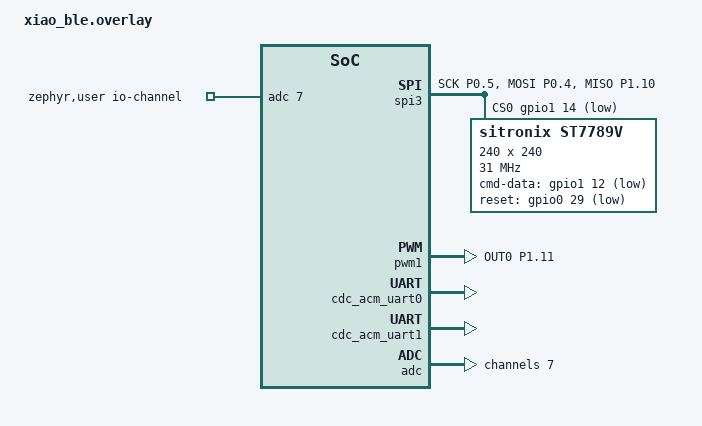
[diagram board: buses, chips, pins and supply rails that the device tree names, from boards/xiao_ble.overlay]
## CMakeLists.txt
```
# SPDX-License-Identifier: MIT
cmake_minimum_required(VERSION 3.20.0)

find_package(Zephyr REQUIRED HINTS $ENV{ZEPHYR_BASE})
project(nrf_elron)

target_sources(app PRIVATE
  src/main.c
  src/schedule.c
  src/ble_svc.c
  src/ui.c
  src/battery.c
  src/buttons.c
  src/game.c
)

target_include_directories(app PRIVATE src)
```

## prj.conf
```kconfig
# ── Elron train display (xiao_ble / nRF52840) ──────────────────────────────

CONFIG_GPIO=y
CONFIG_REBOOT=y
CONFIG_ADC=y

# ── Self-recovery: hardware watchdog reboots the SoC if the main loop ever
# wedges (deadlock/livelock/lockup). Faults are handled by the reboot-on-fatal
# override in main.c. Together these stop a "frozen, unresettable" board. ──────
CONFIG_WATCHDOG=y

# ── Display: ST7789V over SPI3 (backlight is PWM-dimmed for battery) ────────
CONFIG_SPI=y
CONFIG_DISPLAY=y
CONFIG_ST7789V=y
CONFIG_PWM=y

# ── LVGL (Zephyr 3.6 / LVGL 8) ─────────────────────────────────────────────
CONFIG_LVGL=y
CONFIG_LV_COLOR_DEPTH_16=y
CONFIG_LV_COLOR_16_SWAP=y
CONFIG_LV_Z_BITS_PER_PIXEL=16
CONFIG_LV_Z_VDB_SIZE=14
CONFIG_LV_Z_DOUBLE_VDB=y
CONFIG_LV_Z_FLUSH_THREAD=y
CONFIG_LV_Z_MEM_POOL_SIZE=32768
CONFIG_LV_USE_LABEL=y
CONFIG_LV_FONT_MONTSERRAT_16=y
CONFIG_LV_FONT_MONTSERRAT_20=y
CONFIG_LV_FONT_MONTSERRAT_24=y
CONFIG_LV_FONT_MONTSERRAT_48=y

# ── Bluetooth: peripheral, single connection, roomy MTU for one-shot push ──
CONFIG_BT=y
CONFIG_BT_PERIPHERAL=y
CONFIG_BT_DEVICE_NAME="Elron Display"
CONFIG_BT_MAX_CONN=1
CONFIG_BT_L2CAP_TX_MTU=247
CONFIG_BT_BUF_ACL_TX_SIZE=251
CONFIG_BT_BUF_ACL_RX_SIZE=251
CONFIG_BT_ATT_PREPARE_COUNT=16
CONFIG_BT_GATT_CLIENT=n

# ── Persistence: settings on NVS (survives power-cycle → offline mode) ──────
CONFIG_FLASH=y
CONFIG_FLASH_MAP=y
CONFIG_NVS=y
CONFIG_SETTINGS=y
CONFIG_SETTINGS_NVS=y

# ── USB CDC-ACM console (logs over the USB cable) ──────────────────────────
CONFIG_SERIAL=y
CONFIG_CONSOLE=y
CONFIG_UART_CONSOLE=y
CONFIG_UART_LINE_CTRL=y
CONFIG_UART_INTERRUPT_DRIVEN=y
CONFIG_USB_DEVICE_STACK=y
CONFIG_USB_DEVICE_PRODUCT="Elron Display"
CONFIG_USB_DEVICE_INITIALIZE_AT_BOOT=n
# Reboot-to-bootloader on 1200-baud touch (hands-free flashing)
CONFIG_CDC_ACM_DTE_RATE_CALLBACK_SUPPORT=y

# ── Logging ────────────────────────────────────────────────────────────────
CONFIG_LOG=y

# ── Memory / stacks ────────────────────────────────────────────────────────
CONFIG_MAIN_STACK_SIZE=4096
CONFIG_HEAP_MEM_POOL_SIZE=8192
CONFIG_SYSTEM_WORKQUEUE_STACK_SIZE=3072
```

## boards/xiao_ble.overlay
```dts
/*
 * Elron train display — Seeed XIAO nRF52840 + ST7789V 240x240 over SPI3.
 * Wiring mirrors the user's prospector_adapter overlay (direct-SPI st7789v binding,
 * which is valid on Zephyr 3.6 / NCS v2.7.0).
 *
 *   SPI3 SCK  P0.05    MOSI P0.04    MISO P1.10
 *   CS  xiao_d 9   DC  xiao_d 7   RESET xiao_d 3   (all active-low)
 *   Backlight PWM_OUT0 P1.11
 */

#include <zephyr/dt-bindings/gpio/gpio.h>
#include <zephyr/dt-bindings/adc/adc.h>
#include <zephyr/dt-bindings/adc/nrf-adc.h>

/ {
	chosen {
		zephyr,display = &st7789v;
		zephyr,console = &cdc_acm_uart0;
	};

	/* Backlight is PWM-dimmed on P1.11 via pwm1 (see &pwm1 below and
	 * backlight_set() in main.c). */
};

&pinctrl {
	spi3_default: spi3_default {
		group1 {
			psels = <NRF_PSEL(SPIM_SCK, 0, 5)>,
				<NRF_PSEL(SPIM_MOSI, 0, 4)>,
				<NRF_PSEL(SPIM_MISO, 1, 10)>;
		};
	};

	spi3_sleep: spi3_sleep {
		group1 {
			psels = <NRF_PSEL(SPIM_SCK, 0, 5)>,
				<NRF_PSEL(SPIM_MOSI, 0, 4)>,
				<NRF_PSEL(SPIM_MISO, 1, 10)>;
			low-power-enable;
		};
	};

	/* Backlight dimming: PWM_OUT0 on P1.11 (was a plain GPIO). */
	bl_pwm_default: bl_pwm_default {
		group1 {
			psels = <NRF_PSEL(PWM_OUT0, 1, 11)>;
		};
	};

	bl_pwm_sleep: bl_pwm_sleep {
		group1 {
			psels = <NRF_PSEL(PWM_OUT0, 1, 11)>;
			low-power-enable;
		};
	};
};

&spi3 {
	status = "okay";
	pinctrl-0 = <&spi3_default>;
	pinctrl-1 = <&spi3_sleep>;
	pinctrl-names = "default", "sleep";
	cs-gpios = <&gpio1 14 GPIO_ACTIVE_LOW>;   /* xiao_d 9  = P1.14 */

	st7789v: st7789v@0 {
		compatible = "sitronix,st7789v";
		reg = <0>;
		spi-max-frequency = <31000000>;
		cmd-data-gpios = <&gpio1 12 GPIO_ACTIVE_LOW>; /* xiao_d 7 = P1.12 */
		reset-gpios = <&gpio0 29 GPIO_ACTIVE_LOW>;    /* xiao_d 3 = P0.29 */

		width = <240>;
		height = <240>;
		x-offset = <0>;
		y-offset = <0>;

		vcom = <0x19>;
		gctrl = <0x35>;
		vrhs = <0x12>;
		vdvs = <0x20>;
		mdac = <0x00>;   /* native orientation; rotation done in LVGL (sw) */
		gamma = <0x01>;
		colmod = <0x05>;
		lcm = <0x2c>;
		porch-param = [0c 0c 00 33 33];
		cmd2en-param = [5a 69 02 01];
		pwctrl1-param = [a4 a1];
		pvgam-param = [D0 04 0D 11 13 2B 3F 54 4C 18 0D 0B 1F 23];
		nvgam-param = [D0 04 0C 11 13 2C 3F 44 51 2F 1F 1F 20 23];
		ram-param = [00 F0];
		rgb-param = [CD 08 14];
	};
};

/* Backlight is PWM-dimmed for battery life. pwm0 is taken by the board's user
 * LED, so drive P1.11 from pwm1 channel 0 (see backlight_set() in main.c). */
&pwm1 {
	status = "okay";
	pinctrl-0 = <&bl_pwm_default>;
	pinctrl-1 = <&bl_pwm_sleep>;
	pinctrl-names = "default", "sleep";
};

&zephyr_udc0 {
	/* uart0 = log console (chosen zephyr,console). */
	cdc_acm_uart0: cdc_acm_uart0 {
		compatible = "zephyr,cdc-acm-uart";
	};
	/* uart1 = dedicated data channel for the host->board schedule push.
	 * Separate port so the IRQ reader doesn't clobber the console's handler. */
	cdc_acm_uart1: cdc_acm_uart1 {
		compatible = "zephyr,cdc-acm-uart";
	};
};

/* The xiao_ble board DTS adds its own CDC ACM (shell/mcumgr/bt-mon, all unused
 * here). Leaving it on enumerates a stray third COM port and shifts our data
 * port's interface number. Disable it so the board exposes exactly two ports:
 * MI_00 = cdc_acm_uart0 (console), MI_02 = cdc_acm_uart1 (data). */
&usb_cdc_acm_uart {
	status = "disabled";
};

/*
 * Free the display pins that the xiao_ble board enables by default:
 *   i2c1  -> P0.04 (SPI MOSI) + P0.05 (SPI SCK)
 *   spi2  -> P1.14 (display CS = xiao_d 9)
 *   uart0 -> P1.11 (backlight) + P1.12 (display DC = xiao_d 7)
 * (ZMK's board doesn't enable these, so the prospector overlay never had to.)
 */
&i2c1 {
	status = "disabled";
};

&spi2 {
	status = "disabled";
};

&uart0 {
	status = "disabled";
};

/* Battery sense: VBAT divided onto AIN7 (P0.31), enabled by pulling P0.14 low. */
/ {
	zephyr,user {
		io-channels = <&adc 7>;
	};
};

&adc {
	status = "okay";
	#address-cells = <1>;
	#size-cells = <0>;

	channel@7 {
		reg = <7>;
		zephyr,gain = "ADC_GAIN_1_6";
		zephyr,reference = "ADC_REF_INTERNAL";
		zephyr,acquisition-time = <ADC_ACQ_TIME_DEFAULT>;
		zephyr,input-positive = <NRF_SAADC_AIN7>;
		zephyr,resolution = <12>;
	};
};
```

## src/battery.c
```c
#include "battery.h"

#include <zephyr/kernel.h>
#include <zephyr/device.h>
#include <zephyr/drivers/adc.h>
#include <zephyr/drivers/gpio.h>
#include <zephyr/logging/log.h>
#include <hal/nrf_power.h>
#include <lvgl.h>

LOG_MODULE_REGISTER(battery, LOG_LEVEL_INF);

/* XIAO nRF52840 P0.13 sets the BQ25101 charge current:
 *   low = 100 mA, input/high-Z = 50 mA, high = 0 mA (off).
 * We use 100 mA for the 750 mAh cell. */
#define CHARGE_CURRENT_MA 100
#define CHG_CTRL_PIN      13

/* Stop charging at ~90% (4.11 V) and don't resume until ~50% (3.75 V): a wide
 * band that spares the LiPo and barely cycles on continuous USB. Thresholds are
 * the standard LiPo voltage->SoC curve (4110=90%, 3750=50%). */
#define CHG_STOP_MV       4110
#define CHG_RESUME_MV     3750

/* Nearly-empty cutoff while on battery. Below this the caller keeps the screen
 * (the backlight is ~90% of the power budget) off, so the last few percent keep
 * the clock and BLE alive instead of running the cell into brown-out — which
 * also deep-discharged the LiPo every time it happened. The ADC reading is
 * noisy (+-50 mV), so require a few consecutive low samples (one every ~30 s);
 * the very first sample after a boot counts on its own, so a brown-out reboot
 * can't relight the backlight and loop. */
#define LOW_BATT_MV       3400
#define LOW_BATT_SAMPLES  3

/* XIAO nRF52840 divider is R1=1M / R2=510k, so real Vbat = ADC mV * (1000+510)/510
 * = *2.961. This is the documented value — no per-board calibration needed (the
 * ~2-3% resistor tolerance is negligible for a rough icon + wide-band cap). */
#define VBAT_MUL_X1000    2961

static const struct adc_dt_spec adc = ADC_DT_SPEC_GET(DT_PATH(zephyr_user));
static const struct device *const gpio0 = DEVICE_DT_GET(DT_NODELABEL(gpio0));
#define VBAT_ENABLE_PIN 14   /* P0.14: low = connect divider */

static bool ready;
static bool charging_on = true;
static int64_t last_read;
static int cached_mv = -1;

static void chg_set(bool on)
{
	if (!device_is_ready(gpio0)) {
		return;
	}
	if (!on) {
		gpio_pin_configure(gpio0, CHG_CTRL_PIN, GPIO_OUTPUT_HIGH);   /* 0 mA */
	} else if (CHARGE_CURRENT_MA >= 100) {
		gpio_pin_configure(gpio0, CHG_CTRL_PIN, GPIO_OUTPUT_LOW);    /* 100 mA */
	} else {
		gpio_pin_configure(gpio0, CHG_CTRL_PIN, GPIO_INPUT);         /* 50 mA */
	}
	charging_on = on;
}

void battery_init(void)
{
	if (!adc_is_ready_dt(&adc) || adc_channel_setup_dt(&adc) != 0) {
		LOG_WRN("battery ADC not ready");
		return;
	}
	if (device_is_ready(gpio0)) {
		gpio_pin_configure(gpio0, VBAT_ENABLE_PIN, GPIO_OUTPUT_INACTIVE);
	}
	chg_set(true);
	ready = true;
}

static int read_vbat_mv(void)
{
	int16_t raw = 0;
	struct adc_sequence seq = { .buffer = &raw, .buffer_size = sizeof(raw) };

	gpio_pin_set(gpio0, VBAT_ENABLE_PIN, 0);   /* enable divider */
	k_msleep(2);
	adc_sequence_init_dt(&adc, &seq);
	int rc = adc_read_dt(&adc, &seq);
	gpio_pin_set(gpio0, VBAT_ENABLE_PIN, 1);   /* disable to save power */
	if (rc) {
		return -1;
	}
	int32_t mv = raw;
	if (adc_raw_to_millivolts_dt(&adc, &mv) != 0) {
		return -1;
	}
	return (int)((int64_t)mv * VBAT_MUL_X1000 / 1000);
}

bool battery_usb_present(void)
{
	return nrf_power_usbregstatus_vbusdet_get(NRF_POWER);
}

static bool low_latched;
static uint8_t low_cnt;
static bool low_first_sample = true;

/* Feed one fresh ADC sample into the low-battery latch. */
static void low_eval(int mv)
{
	bool first = low_first_sample;

	low_first_sample = false;
	if (mv < 0 || mv >= LOW_BATT_MV || battery_usb_present()) {
		low_cnt = 0;
		return;
	}
	if (first) {
		/* Booted straight into a low reading: confirm it with one immediate
		 * re-read rather than waiting ~60 s with the backlight on, but don't
		 * latch on a single (possibly glitched) first conversion either. */
		int again = read_vbat_mv();

		if (again < 0 || again >= LOW_BATT_MV) {
			low_cnt = 1;
			return;
		}
	} else if (++low_cnt < LOW_BATT_SAMPLES) {
		return;
	}
	if (!low_latched) {
		LOG_WRN("battery low (%d mV) -> screen stays off until USB", mv);
	}
	low_latched = true;
}

static int vbat_cached(void)
{
	int64_t now = k_uptime_get();
	if (cached_mv < 0 || now - last_read > 30000) {
		cached_mv = read_vbat_mv();
		last_read = now;
		LOG_INF("vbat ~%d mV (chg=%d)", cached_mv, charging_on);
		low_eval(cached_mv);
	}
	return cached_mv;
}

bool battery_low(void)
{
	if (!ready) {
		return false;
	}
	if (battery_usb_present()) {
		low_latched = false;
		low_cnt = 0;
		return false;
	}
	(void)vbat_cached();   /* takes (and evaluates) a fresh sample every ~30 s */
	return low_latched;
}

void battery_charge_manage(void)
{
	static bool usb_prev;
	bool usb = battery_usb_present();

	/* USB just came back after a spell on battery: top up straight away. The
	 * wide 4.11 -> 3.75 V hold band below is right for a board that sits on USB
	 * (it barely cycles the cell), but on its own it meant a night on battery
	 * was never recharged the next day — the charge stayed paused until the cell
	 * had sagged to ~50%, so the board routinely went into a weekend half empty. */
	if (ready && usb && !usb_prev && !charging_on) {
		LOG_INF("USB power back -> top up");
		chg_set(true);
	}
	usb_prev = usb;

	if (!ready || !usb) {
		return;   /* can only charge on USB */
	}
	int mv = vbat_cached();
	if (mv < 0) {
		return;
	}
	if (charging_on && mv >= CHG_STOP_MV) {
		LOG_INF("charge cap reached (%d mV) -> pause", mv);
		chg_set(false);
	} else if (!charging_on && mv <= CHG_RESUME_MV) {
		LOG_INF("battery sagged (%d mV) -> resume charge", mv);
		chg_set(true);
	}
}

const char *battery_symbol(void)
{
	if (!ready) {
		return "";
	}
	/* Plugged in -> always show the charge bolt. We still pause the actual charge
	 * current at the cap for LiPo longevity (charging_on toggles), but to the user
	 * "on USB" should read as charging — otherwise a topped-off battery sitting in
	 * the 4.11->3.75 V hold band looks like charging silently stopped. */
	if (battery_usb_present()) {
		return LV_SYMBOL_CHARGE;
	}
	int mv = vbat_cached();
	if (mv < 0) {
		return "";
	}
	if (mv >= 4100) {
		return LV_SYMBOL_BATTERY_FULL;
	} else if (mv >= 3900) {
		return LV_SYMBOL_BATTERY_3;
	} else if (mv >= 3750) {
		return LV_SYMBOL_BATTERY_2;
	} else if (mv >= 3600) {
		return LV_SYMBOL_BATTERY_1;
	}
	return LV_SYMBOL_BATTERY_EMPTY;
}
```

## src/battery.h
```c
/* Rough LiPo battery indicator for the XIAO nRF52840.
 * VBAT is divided onto AIN7 (P0.31); P0.14 low enables the divider. */
#ifndef ELRON_BATTERY_H_
#define ELRON_BATTERY_H_

#include <stdbool.h>

void battery_init(void);

/* Manage the charge cap: stop charging near ~90%, resume if it sags, and top
 * up again whenever USB power returns after a spell on battery.
 * Call periodically (e.g. once a second) — on battery too, so it can see USB
 * come and go. */
void battery_charge_manage(void);

/* True while USB (VBUS) power is present. */
bool battery_usb_present(void);

/* True once the cell is nearly empty while running on battery. Latches until
 * USB power returns. Samples the ADC at most every ~30 s, so it is cheap to
 * call every second. */
bool battery_low(void);

/* An LVGL battery/charge symbol reflecting a rough level (cached ~30s).
 * Returns "" if the ADC isn't ready. */
const char *battery_symbol(void);

#endif /* ELRON_BATTERY_H_ */
```

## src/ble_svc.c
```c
#include "ble_svc.h"
#include "schedule.h"

#include <zephyr/kernel.h>
#include <zephyr/bluetooth/bluetooth.h>
#include <zephyr/bluetooth/conn.h>
#include <zephyr/bluetooth/hci.h>
#include <zephyr/bluetooth/gatt.h>
#include <zephyr/bluetooth/uuid.h>
#include <zephyr/sys/reboot.h>
#include <zephyr/logging/log.h>
#include <hal/nrf_power.h>
#include <string.h>

LOG_MODULE_REGISTER(ble_svc, LOG_LEVEL_INF);

/* 6e656c45-726f-6e21-0000-0000000000xx  ("elEron!" themed) */
#define ELRON_UUID_SVC \
	BT_UUID_128_ENCODE(0x6e656c45, 0x726f, 0x6e21, 0x0000, 0x000000000001)
#define ELRON_UUID_SCHED \
	BT_UUID_128_ENCODE(0x6e656c45, 0x726f, 0x6e21, 0x0000, 0x000000000002)
#define ELRON_UUID_CTRL \
	BT_UUID_128_ENCODE(0x6e656c45, 0x726f, 0x6e21, 0x0000, 0x000000000003)

static struct bt_uuid_128 svc_uuid   = BT_UUID_INIT_128(ELRON_UUID_SVC);
static struct bt_uuid_128 sched_uuid = BT_UUID_INIT_128(ELRON_UUID_SCHED);
static struct bt_uuid_128 ctrl_uuid  = BT_UUID_INIT_128(ELRON_UUID_CTRL);

/* Control char command bytes. */
#define ELRON_CMD_BOOTLOADER 0xB0   /* reboot into the UF2 bootloader */

static elron_ble_rx_cb user_cb;
static bool connected;
static bool adv_active;

/* Drop a connection that goes idle, so a phantom/half-open link (Windows leaves
 * these) can't stop us advertising. Rescheduled on every write. */
static struct bt_conn *cur_conn;
#define IDLE_DISCONNECT K_SECONDS(20)

static void idle_work_fn(struct k_work *w)
{
	ARG_UNUSED(w);
	if (cur_conn) {
		LOG_INF("idle connection -> disconnecting");
		bt_conn_disconnect(cur_conn, BT_HCI_ERR_REMOTE_USER_TERM_CONN);
	}
}
static K_WORK_DELAYABLE_DEFINE(idle_work, idle_work_fn);

/* Reassembly buffer for chunked schedule writes (a week of departures). */
static uint8_t  rx_buf[1100];
static uint16_t rx_len;

/* Total expected v3 payload length given the bytes seen so far, or 0 if the
 * header isn't complete enough yet. Skips the u8-length-prefixed origin/dest/msg
 * + destination table, then adds count*7. */
static uint16_t wire_total_len(const uint8_t *b, uint16_t have)
{
	uint16_t p = 9;                 /* ver(1)+epoch(4)+tz(2)+walk(2) */
	for (int i = 0; i < 3; i++) {   /* origin, dest, msg */
		if (have < p + 1) return 0;
		p += 1 + b[p];
	}
	if (have < p + 1) return 0;     /* ndest */
	uint8_t nd = b[p++];
	for (uint8_t i = 0; i < nd; i++) {
		if (have < p + 1) return 0;
		p += 1 + b[p];
	}
	if (have < p + 1) return 0;     /* count */
	return p + 1 + b[p] * 7;
}

/* Chunked protocol: the companion sends the wire payload as small frames, each
 * [seq:u8][<=CHUNK data], so every GATT write fits a single ATT PDU (no MTU
 * negotiation, no long/prepared writes — which Windows' stack rejected). The
 * firmware places each chunk at seq*CHUNK and fires once the payload is whole. */
#define ELRON_CHUNK 18

static ssize_t sched_write(struct bt_conn *conn, const struct bt_gatt_attr *attr,
			   const void *buf, uint16_t len, uint16_t offset, uint8_t flags)
{
	ARG_UNUSED(offset);
	ARG_UNUSED(flags);

	if (len < 1) {
		return len;
	}
	k_work_reschedule(&idle_work, IDLE_DISCONNECT);   /* activity: stay alive */
	const uint8_t *b = buf;
	uint16_t seq = b[0];
	uint16_t dlen = len - 1;
	uint16_t dest = seq * ELRON_CHUNK;

	if (dest + dlen > sizeof(rx_buf)) {
		return BT_GATT_ERR(BT_ATT_ERR_INVALID_OFFSET);
	}
	/* seq 0 begins a fresh transfer: clear the high-water mark so a re-push or a
	 * dropped/gapped chunk can't complete against stale bytes from a prior one. */
	if (seq == 0) {
		rx_len = 0;
	}
	memcpy(&rx_buf[dest], &b[1], dlen);
	if (dest + dlen > rx_len) {
		rx_len = dest + dlen;
	}

	uint16_t total = wire_total_len(rx_buf, rx_len);
	if (user_cb && total != 0 && rx_len >= total) {
		LOG_INF("schedule complete: %u bytes", total);
		user_cb(rx_buf, total);
		rx_len = 0;
	}
	return len;
}

/* Reboot to the UF2 bootloader, deferred so the ATT write response goes out
 * first (otherwise the central reports the write as failed). */
static void reboot_work_fn(struct k_work *w)
{
	ARG_UNUSED(w);
	nrf_power_gpregret_set(NRF_POWER, 0, 0x57);   /* Adafruit/Seeed "enter UF2" */
	sys_reboot(SYS_REBOOT_COLD);
}
static K_WORK_DELAYABLE_DEFINE(reboot_work, reboot_work_fn);

static ssize_t ctrl_write(struct bt_conn *conn, const struct bt_gatt_attr *attr,
			  const void *buf, uint16_t len, uint16_t offset, uint8_t flags)
{
	ARG_UNUSED(conn); ARG_UNUSED(attr); ARG_UNUSED(offset); ARG_UNUSED(flags);
	const uint8_t *b = buf;
	if (len >= 1 && b[0] == ELRON_CMD_BOOTLOADER) {
		LOG_INF("ctrl: reboot to bootloader requested");
		k_work_schedule(&reboot_work, K_MSEC(250));
	}
	return len;
}

/* GATT service: schedule (write) + control (write) characteristics. */
BT_GATT_SERVICE_DEFINE(elron_svc,
	BT_GATT_PRIMARY_SERVICE(&svc_uuid),
	BT_GATT_CHARACTERISTIC(&sched_uuid.uuid,
		BT_GATT_CHRC_WRITE,
		BT_GATT_PERM_WRITE,
		NULL, sched_write, NULL),
	BT_GATT_CHARACTERISTIC(&ctrl_uuid.uuid,
		BT_GATT_CHRC_WRITE,
		BT_GATT_PERM_WRITE,
		NULL, ctrl_write, NULL),
);

/* Manufacturer data: [company 0xFFFF][has_schedule]. The companion reads the
 * flag while scanning so it knows to (re)send after a reflash wipes the device. */
static uint8_t mfg_data[3] = { 0xFF, 0xFF, 0x00 };

static const struct bt_data ad[] = {
	BT_DATA_BYTES(BT_DATA_FLAGS, (BT_LE_AD_GENERAL | BT_LE_AD_NO_BREDR)),
	BT_DATA(BT_DATA_NAME_COMPLETE, CONFIG_BT_DEVICE_NAME,
		sizeof(CONFIG_BT_DEVICE_NAME) - 1),
	BT_DATA(BT_DATA_MANUFACTURER_DATA, mfg_data, sizeof(mfg_data)),
};

static const struct bt_data sd[] = {
	BT_DATA_BYTES(BT_DATA_UUID128_ALL, ELRON_UUID_SVC),
};

void elron_ble_set_has_schedule(bool has)
{
	mfg_data[2] = has ? 1 : 0;
	if (adv_active && !connected) {
		(void)bt_le_adv_update_data(ad, ARRAY_SIZE(ad), sd, ARRAY_SIZE(sd));
	}
}

static void connected_cb(struct bt_conn *conn, uint8_t err)
{
	if (err) {
		LOG_WRN("connection failed (0x%02x)", err);
		return;
	}
	connected = true;
	rx_len = 0;
	cur_conn = bt_conn_ref(conn);
	k_work_reschedule(&idle_work, IDLE_DISCONNECT);
	LOG_INF("central connected");
}

/* Slow connectable advertising (~1 s vs the 100-150 ms default BT_LE_ADV_CONN).
 * The companion only needs to find the board occasionally, so this cuts the
 * radio's continuous idle-advertising current roughly 7x for negligible extra
 * discovery latency. */
#define ELRON_ADV_SLOW \
	BT_LE_ADV_PARAM(BT_LE_ADV_OPT_CONNECTABLE, \
			BT_GAP_ADV_SLOW_INT_MIN, BT_GAP_ADV_SLOW_INT_MAX, NULL)

static void start_adv(void)
{
	int err = bt_le_adv_start(ELRON_ADV_SLOW, ad, ARRAY_SIZE(ad),
				  sd, ARRAY_SIZE(sd));
	if (err) {
		LOG_ERR("adv start failed: %d", err);
		return;
	}
	adv_active = true;
	LOG_INF("advertising as \"%s\"", CONFIG_BT_DEVICE_NAME);
}

static void disconnected_cb(struct bt_conn *conn, uint8_t reason)
{
	connected = false;
	rx_len = 0;
	k_work_cancel_delayable(&idle_work);
	if (cur_conn) {
		bt_conn_unref(cur_conn);
		cur_conn = NULL;
	}
	LOG_INF("central disconnected (0x%02x)", reason);
	start_adv();   /* otherwise the device goes silent after one connection */
}

BT_CONN_CB_DEFINE(conn_callbacks) = {
	.connected = connected_cb,
	.disconnected = disconnected_cb,
};

static void bt_ready(int err)
{
	if (err) {
		LOG_ERR("bt enable failed: %d", err);
		return;
	}
	start_adv();
}

int elron_ble_init(elron_ble_rx_cb cb)
{
	user_cb = cb;
	return bt_enable(bt_ready);
}

bool elron_ble_connected(void)
{
	return connected;
}
```

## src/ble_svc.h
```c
/*
 * Custom GATT service for receiving an Elron schedule push from the companion.
 *
 * Service UUID:        6e656c45-726f-6e21-0000-000000000001
 * Schedule char (W):   6e656c45-726f-6e21-0000-000000000002  (write / write-long)
 *
 * The companion writes the wire payload described in schedule.h to the schedule
 * characteristic. A registered callback is invoked once the full value lands.
 */
#ifndef ELRON_BLE_SVC_H_
#define ELRON_BLE_SVC_H_

#include <stddef.h>
#include <stdint.h>
#include <stdbool.h>

/* Called (from the BT RX context) when a complete schedule payload is written. */
typedef void (*elron_ble_rx_cb)(const uint8_t *buf, size_t len);

/* Start advertising and register the schedule write callback. */
int elron_ble_init(elron_ble_rx_cb cb);

/* True while a central is connected. */
bool elron_ble_connected(void);

/* Advertise whether the device currently holds a schedule (so the companion
 * can detect a freshly-reflashed/empty device and resend). */
void elron_ble_set_has_schedule(bool has);

#endif /* ELRON_BLE_SVC_H_ */
```

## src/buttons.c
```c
#include "buttons.h"

#include <zephyr/kernel.h>
#include <zephyr/device.h>
#include <zephyr/drivers/gpio.h>
#include <zephyr/logging/log.h>

LOG_MODULE_REGISTER(buttons, LOG_LEVEL_INF);

/* nRF52840 GPIO ports. The three buttons all live on gpio0; the common is on
 * gpio1 (D8 = P1.13). */
static const struct device *const gpio0 = DEVICE_DT_GET(DT_NODELABEL(gpio0));
static const struct device *const gpio1 = DEVICE_DT_GET(DT_NODELABEL(gpio1));

#define COMMON_PIN 13   /* on gpio1: D8 = P1.13, driven low */

/* Button input pins on gpio0 (active-low: pressed -> shorted to driven-low common).
 * Ordered by PHYSICAL position left->right, which is D1, D2, D0 on this build —
 * so index 0/1/2 = the 1st/2nd/3rd button as mounted, not the D-number. */
static const gpio_pin_t btn_pin[ELRON_NUM_BUTTONS]  = { 3, 28, 2 };       /* D1, D2, D0 */
const char *const elron_button_name[ELRON_NUM_BUTTONS] = { "D1", "D2", "D0" };

#define DEBOUNCE_MS 25

static struct gpio_callback   gpio0_cb;
static struct k_work_delayable debounce_work;
static elron_button_cb        user_cb;
static uint32_t               stable_state;   /* bit i = button i pressed */

/* Sample all three inputs: physical low (== 0) means pressed. */
static uint32_t sample_raw(void)
{
	uint32_t m = 0;
	for (int i = 0; i < ELRON_NUM_BUTTONS; i++) {
		if (gpio_pin_get_raw(gpio0, btn_pin[i]) == 0) {
			m |= BIT(i);
		}
	}
	return m;
}

/* Runs DEBOUNCE_MS after the line last went quiet: latch the stable state and
 * report any buttons whose level changed. */
static void debounce_fn(struct k_work *w)
{
	ARG_UNUSED(w);
	uint32_t now = sample_raw();
	uint32_t changed = now ^ stable_state;

	stable_state = now;
	if (!changed || !user_cb) {
		return;
	}
	for (int i = 0; i < ELRON_NUM_BUTTONS; i++) {
		if (changed & BIT(i)) {
			user_cb((uint8_t)i, (now & BIT(i)) != 0);
		}
	}
}

/* GPIO edge interrupt: every edge (incl. bounce) just re-arms the sampler, so
 * we only latch once the input has been quiet for DEBOUNCE_MS. */
static void edge_isr(const struct device *dev, struct gpio_callback *cb, uint32_t pins)
{
	ARG_UNUSED(dev);
	ARG_UNUSED(cb);
	ARG_UNUSED(pins);
	k_work_reschedule(&debounce_work, K_MSEC(DEBOUNCE_MS));
}

int elron_buttons_init(elron_button_cb cb)
{
	user_cb = cb;

	if (!device_is_ready(gpio0) || !device_is_ready(gpio1)) {
		LOG_ERR("gpio not ready");
		return -ENODEV;
	}

	/* Shared common: drive D8 (P1.13) low so a press pulls its input low. */
	int rc = gpio_pin_configure(gpio1, COMMON_PIN, GPIO_OUTPUT_LOW);
	if (rc) {
		LOG_ERR("common (D8) cfg: %d", rc);
		return rc;
	}

	k_work_init_delayable(&debounce_work, debounce_fn);

	uint32_t mask = 0;
	for (int i = 0; i < ELRON_NUM_BUTTONS; i++) {
		rc = gpio_pin_configure(gpio0, btn_pin[i], GPIO_INPUT | GPIO_PULL_UP);
		if (rc) {
			LOG_ERR("btn%d (P0.%02d) cfg: %d", i, btn_pin[i], rc);
			return rc;
		}
		rc = gpio_pin_interrupt_configure(gpio0, btn_pin[i], GPIO_INT_EDGE_BOTH);
		if (rc) {
			LOG_ERR("btn%d (P0.%02d) int: %d", i, btn_pin[i], rc);
			return rc;
		}
		mask |= BIT(btn_pin[i]);
	}

	/* One callback object covers all three pins (all on gpio0). */
	gpio_init_callback(&gpio0_cb, edge_isr, mask);
	gpio_add_callback(gpio0, &gpio0_cb);

	/* Latch the initial level (in case a button is held at boot). */
	stable_state = sample_raw();
	LOG_INF("buttons ready: D0/D1/D2, common D8; state=0x%x", stable_state);
	return 0;
}

uint32_t elron_buttons_state(void)
{
	return stable_state;
}
```

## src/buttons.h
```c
/* Three front-panel push-buttons (Seeed XIAO nRF52840 header).
 *
 * Wiring: each button bridges one input pin to a shared common pin.
 *   button 0 -> D0 (P0.02)
 *   button 1 -> D1 (P0.03)
 *   button 2 -> D2 (P0.28)
 *   common   -> D8 (P1.13), driven low in firmware
 * (D9/P1.14 is the display CS, so the common can only be D8.)
 *
 * Inputs use internal pull-ups, so a press pulls the line low. Debounce is
 * interrupt-driven: edges (re)arm a delayed sampler, so the buttons cost zero
 * wakeups while idle — important for the overnight low-power loop.
 */
#ifndef ELRON_BUTTONS_H_
#define ELRON_BUTTONS_H_

#include <stdbool.h>
#include <stdint.h>

#define ELRON_NUM_BUTTONS 3

/* Human-readable pin label per button index, in physical left->right order. */
extern const char *const elron_button_name[ELRON_NUM_BUTTONS];

/* Fired from a workqueue context on each debounced edge.
 *   idx     = 0..ELRON_NUM_BUTTONS-1 (0 = D0, 1 = D1, 2 = D2)
 *   pressed = true on press, false on release
 */
typedef void (*elron_button_cb)(uint8_t idx, bool pressed);

/* Configure the common + the three inputs and start debounced reporting.
 * Returns 0 on success, negative errno otherwise. */
int elron_buttons_init(elron_button_cb cb);

/* Current debounced state bitmask: bit i set = button i is held. */
uint32_t elron_buttons_state(void);

#endif /* ELRON_BUTTONS_H_ */
```

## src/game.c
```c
#include "game.h"
#include "ui.h"

#include <lvgl.h>
#include <zephyr/kernel.h>
#include <zephyr/sys/atomic.h>
#include <zephyr/settings/settings.h>
#include <zephyr/logging/log.h>
#include <errno.h>

LOG_MODULE_REGISTER(game, LOG_LEVEL_INF);

/* ── Tunables (logical 240x240 space, same rotation as the rest of the UI).
 * Positions/velocities are 1/256-px fixed-point so motion is smooth without
 * floats. Tweak these on-device to taste. ─────────────────────────────────── */
#define FP            256
#define SCN_W         240
#define GROUND_Y      196          /* platform line (px) */
#define RUNNER_X      40
#define RUNNER_W      16
#define RUNNER_H      24
#define RUNNER_TOP    (GROUND_Y - RUNNER_H)

#define GRAVITY_FP    300          /* ~1.17 px/tick^2 */
#define JUMP_V_FP     (-2900)      /* ~-11.3 px/tick (single jump) */
#define SPEED0_FP     740          /* ~2.9 px/tick start */
#define SPEED_MAX_FP  1700         /* ~6.6 px/tick cap */
#define SPEED_RAMP_DIV 8           /* speed_fp = SPEED0 + dist_px/this */

#define N_OBST        4
#define OBST_W        16
#define OBST_MIN_H    14
#define OBST_MAX_H    34
#define OBST_MIN_GAP  150          /* px between obstacles (kept clearable) */
#define OBST_MAX_GAP  240

#define OVER_TIMEOUT_MS 20000      /* auto-exit from the game-over screen */
#define TITLE_TIMEOUT_MS 60000     /* auto-exit from an untouched title screen:
				    * game mode keeps the backlight lit, so a title
				    * screen left open would drain the battery flat */

#define COL_BG     lv_color_hex(0x000000)
#define COL_ELRON  lv_color_hex(0xfb4f14)
#define COL_TEXT   lv_color_hex(0xffffff)
#define COL_GROUND lv_color_hex(0x4a5560)
#define COL_OBST   lv_color_hex(0xb4bcc6)

enum gstate { G_TITLE, G_PLAYING, G_OVER };

struct obstacle {
	bool   active;
	int32_t x_fp;   /* left edge */
	int     h;
};

static lv_obj_t *scr;
static lv_obj_t *ground, *train, *runner, *score_lbl;
static lv_obj_t *title_lbl, *best_lbl, *hint_lbl, *over_lbl;
static lv_obj_t *obst_obj[N_OBST];
static struct obstacle obst[N_OBST];

static bool        active;
static enum gstate state;
static int32_t     runner_y_fp, vy_fp;
static bool        grounded;
static int32_t     dist_fp, speed_fp;
static uint32_t    score, hi;
static int         next_gap;
static int         train_phase;
static int64_t     over_ms;
static int64_t     title_ms;
static uint32_t    rng;

/* Enter/press requests arrive on the debounce workqueue thread, but LVGL is not
 * thread-safe — driving it there races the main loop's lv_task_handler() and was
 * dropping the game's full-screen invalidate, leaving stale schedule pixels
 * behind the game. So elron_game_enter()/_button() only record intent here, and
 * elron_game_tick() (main-loop thread) applies it next to its own LVGL calls. */
static atomic_t enter_req;
K_MSGQ_DEFINE(btn_msgq, sizeof(uint8_t), 8, 1);

/* ── High score persistence (own "game" settings subtree) ─────────────────── */
static int game_set_cb(const char *name, size_t len,
		       settings_read_cb read_cb, void *cb_arg)
{
	if (settings_name_steq(name, "hi", NULL)) {
		if (len == sizeof(hi)) {
			read_cb(cb_arg, &hi, sizeof(hi));
		}
		return 0;
	}
	return -ENOENT;
}
static struct settings_handler gsh = { .name = "game", .h_set = game_set_cb };

static void save_hi(void)
{
	int rc = settings_save_one("game/hi", &hi, sizeof(hi));
	if (rc) {
		LOG_WRN("save hi: %d", rc);
	}
}

/* ── Tiny PRNG (xorshift32), seeded per run from the cycle counter ─────────── */
static uint32_t prng(void)
{
	rng ^= rng << 13;
	rng ^= rng >> 17;
	rng ^= rng << 5;
	return rng;
}

/* ── State / overlays ─────────────────────────────────────────────────────── */
static void show(lv_obj_t *o, bool on)
{
	if (on) {
		lv_obj_clear_flag(o, LV_OBJ_FLAG_HIDDEN);
	} else {
		lv_obj_add_flag(o, LV_OBJ_FLAG_HIDDEN);
	}
}

static void set_state(enum gstate s)
{
	state = s;
	switch (s) {
	case G_TITLE:
		title_ms = k_uptime_get();
		/* Clean "ready" scene: just the runner standing on the platform.
		 * The train and obstacles stay hidden until the chase begins, so the
		 * title text never collides with stray gameplay scenery. */
		show(score_lbl, false);
		show(train, false);
		show(over_lbl, false);
		for (int i = 0; i < N_OBST; i++) {
			show(obst_obj[i], false);
		}
		lv_obj_set_pos(runner, RUNNER_X, RUNNER_TOP);
		show(runner, true);
		lv_label_set_text_fmt(best_lbl, "best  %u", hi);
		show(title_lbl, true);
		show(best_lbl, true);
		show(hint_lbl, true);
		break;
	case G_PLAYING:
		show(title_lbl, false);
		show(best_lbl, false);
		show(hint_lbl, false);
		show(over_lbl, false);
		lv_obj_set_y(train, 24);
		show(train, true);
		show(runner, true);
		show(score_lbl, true);
		break;
	case G_OVER:
		over_ms = k_uptime_get();
		lv_label_set_text_fmt(over_lbl,
			"MISSED IT!\n\nscore  %u\nbest   %u\n\nGO  again    BACK  exit",
			score, hi);
		show(over_lbl, true);
		lv_obj_move_foreground(over_lbl);
		break;
	}
}

/* ── Gameplay ─────────────────────────────────────────────────────────────── */
static void spawn(int x_px)
{
	for (int i = 0; i < N_OBST; i++) {
		if (!obst[i].active) {
			obst[i].active = true;
			obst[i].x_fp = x_px * FP;
			obst[i].h = OBST_MIN_H + (prng() % (OBST_MAX_H - OBST_MIN_H + 1));
			next_gap = OBST_MIN_GAP + (prng() % (OBST_MAX_GAP - OBST_MIN_GAP + 1));
			return;
		}
	}
}

static void start_game(void)
{
	rng = k_cycle_get_32() | 1u;
	dist_fp = 0;
	speed_fp = SPEED0_FP;
	score = 0;
	runner_y_fp = RUNNER_TOP * FP;
	vy_fp = 0;
	grounded = true;
	for (int i = 0; i < N_OBST; i++) {
		obst[i].active = false;
	}
	next_gap = OBST_MIN_GAP;
	spawn(SCN_W + 80);        /* a little breathing room before the first one */
	set_state(G_PLAYING);
}

static void render(void)
{
	lv_obj_set_pos(runner, RUNNER_X, runner_y_fp >> 8);

	for (int i = 0; i < N_OBST; i++) {
		if (obst[i].active) {
			lv_obj_set_size(obst_obj[i], OBST_W, obst[i].h);
			lv_obj_set_pos(obst_obj[i], obst[i].x_fp >> 8,
				       GROUND_Y - obst[i].h);
			show(obst_obj[i], true);
		} else {
			show(obst_obj[i], false);
		}
	}

	/* Train bobs gently as it pulls away. */
	lv_obj_set_y(train, 24 + (((train_phase >> 3) & 3) - 1));
	lv_label_set_text_fmt(score_lbl, "%u", score);
}

static void update(void)
{
	train_phase++;

	/* Runner physics. */
	vy_fp += GRAVITY_FP;
	runner_y_fp += vy_fp;
	if (runner_y_fp >= RUNNER_TOP * FP) {
		runner_y_fp = RUNNER_TOP * FP;
		vy_fp = 0;
		grounded = true;
	} else {
		grounded = false;
	}

	/* Distance, score, speed ramp. */
	dist_fp += speed_fp;
	int dist_px = dist_fp >> 8;
	score = dist_px / 4;
	speed_fp = SPEED0_FP + dist_px / SPEED_RAMP_DIV;
	if (speed_fp > SPEED_MAX_FP) {
		speed_fp = SPEED_MAX_FP;
	}

	/* Scroll obstacles, recycle off-screen ones, track the rightmost. */
	int rightmost = -10000;
	for (int i = 0; i < N_OBST; i++) {
		if (!obst[i].active) {
			continue;
		}
		obst[i].x_fp -= speed_fp;
		int x_px = obst[i].x_fp >> 8;
		if (x_px + OBST_W < 0) {
			obst[i].active = false;
			continue;
		}
		if (x_px > rightmost) {
			rightmost = x_px;
		}
	}
	if (rightmost < SCN_W - next_gap) {
		spawn(SCN_W);
	}

	/* Collision (slightly forgiving box). */
	int ry = runner_y_fp >> 8;
	for (int i = 0; i < N_OBST; i++) {
		if (!obst[i].active) {
			continue;
		}
		int ox = obst[i].x_fp >> 8;
		int otop = GROUND_Y - obst[i].h;
		if (RUNNER_X + 2 < ox + OBST_W && RUNNER_X + RUNNER_W - 2 > ox &&
		    ry + RUNNER_H - 2 > otop) {
			if (score > hi) {
				hi = score;
				save_hi();
			}
			set_state(G_OVER);
			return;
		}
	}
}

/* ── Public API ───────────────────────────────────────────────────────────── */
bool elron_game_active(void)
{
	return active;
}

void elron_game_enter(void)
{
	/* Workqueue context: flag the request, do NOT touch LVGL. The main loop
	 * sees active and applies the screen switch in elron_game_tick(). */
	/* Request first, then active: the tick must apply the enter (which restarts
	 * the title/game-over timers) before it ever checks them. */
	atomic_set(&enter_req, 1);
	active = true;
}

static void game_exit(void)
{
	active = false;
	k_msgq_purge(&btn_msgq);                 /* drop presses queued before exit */
	lv_scr_load(elron_ui_screen());
	lv_obj_invalidate(elron_ui_screen());    /* repaint every chunk (see tick) */
	elron_ui_refresh(false);
	LOG_INF("game: exit");
}

void elron_game_quit(void)
{
	/* Drop an enter that was requested but not applied yet, too, so the next
	 * tick can't bring the game straight back. */
	atomic_set(&enter_req, 0);
	if (active) {
		game_exit();
	}
}

/* Apply one queued button press. Runs on the main-loop thread (drained by
 * elron_game_tick), so it's safe to call LVGL from here. */
static void handle_button(uint8_t idx)
{
	if (idx == 1) {            /* #2 = BACK, always exits */
		game_exit();
		return;
	}
	/* idx == 0: #1 = GO */
	switch (state) {
	case G_TITLE:
		start_game();
		break;
	case G_PLAYING:
		if (grounded) {
			vy_fp = JUMP_V_FP;
			grounded = false;
		}
		break;
	case G_OVER:
		start_game();
		break;
	}
}

void elron_game_button(uint8_t idx, bool pressed)
{
	/* Workqueue context: just queue the press; the main loop applies it. */
	if (!active || !pressed) {
		return;
	}
	(void)k_msgq_put(&btn_msgq, &idx, K_NO_WAIT);
}

void elron_game_tick(void)
{
	if (!active) {
		return;
	}

	/* Apply a pending enter here so the screen switch + full-screen invalidate
	 * happen on this (main-loop) thread, just before lv_task_handler() runs —
	 * not racing it from the button workqueue. The partial render buffer
	 * (LV_Z_VDB_SIZE=14%) repaints in chunks, so a dropped invalidate would
	 * leave stale schedule pixels in chunks the game never redraws over. */
	if (atomic_cas(&enter_req, 1, 0)) {
		set_state(G_TITLE);
		lv_scr_load(scr);
		lv_obj_invalidate(scr);
		LOG_INF("game: enter");
	}

	/* Drain queued presses (also this thread, so LVGL stays single-threaded). */
	uint8_t idx;
	while (active && k_msgq_get(&btn_msgq, &idx, K_NO_WAIT) == 0) {
		handle_button(idx);
	}

	if (state == G_PLAYING) {
		update();
		if (state == G_PLAYING) {   /* update() may have ended the run */
			render();
		}
	} else if (state == G_OVER) {
		if (k_uptime_get() - over_ms > OVER_TIMEOUT_MS) {
			game_exit();
		}
	} else if (state == G_TITLE) {
		if (k_uptime_get() - title_ms > TITLE_TIMEOUT_MS) {
			game_exit();
		}
	}
}

void elron_game_init(void)
{
	settings_register(&gsh);
	settings_load_subtree("game");   /* subsys already init'd by schedule */

	scr = lv_obj_create(NULL);
	lv_obj_set_style_bg_color(scr, COL_BG, 0);
	lv_obj_set_style_bg_opa(scr, LV_OPA_COVER, 0);
	lv_obj_clear_flag(scr, LV_OBJ_FLAG_SCROLLABLE);

	/* Platform line. */
	ground = lv_obj_create(scr);
	lv_obj_remove_style_all(ground);
	lv_obj_set_size(ground, SCN_W, 3);
	lv_obj_set_pos(ground, 0, GROUND_Y);
	lv_obj_set_style_bg_color(ground, COL_GROUND, 0);
	lv_obj_set_style_bg_opa(ground, LV_OPA_COVER, 0);

	/* The train you're chasing (flavor). */
	train = lv_obj_create(scr);
	lv_obj_remove_style_all(train);
	lv_obj_set_size(train, 56, 22);
	lv_obj_set_pos(train, 176, 24);
	lv_obj_set_style_bg_color(train, COL_ELRON, 0);
	lv_obj_set_style_bg_opa(train, LV_OPA_COVER, 0);
	lv_obj_set_style_radius(train, 4, 0);

	/* Runner. */
	runner = lv_obj_create(scr);
	lv_obj_remove_style_all(runner);
	lv_obj_set_size(runner, RUNNER_W, RUNNER_H);
	lv_obj_set_style_bg_color(runner, COL_ELRON, 0);
	lv_obj_set_style_bg_opa(runner, LV_OPA_COVER, 0);
	lv_obj_set_style_radius(runner, 3, 0);

	/* Obstacle pool. */
	for (int i = 0; i < N_OBST; i++) {
		obst_obj[i] = lv_obj_create(scr);
		lv_obj_remove_style_all(obst_obj[i]);
		lv_obj_set_style_bg_color(obst_obj[i], COL_OBST, 0);
		lv_obj_set_style_bg_opa(obst_obj[i], LV_OPA_COVER, 0);
		lv_obj_set_style_radius(obst_obj[i], 2, 0);
		lv_obj_add_flag(obst_obj[i], LV_OBJ_FLAG_HIDDEN);
	}

	/* Score. */
	score_lbl = lv_label_create(scr);
	lv_obj_set_style_text_font(score_lbl, &lv_font_montserrat_20, 0);
	lv_obj_set_style_text_color(score_lbl, COL_TEXT, 0);
	lv_obj_align(score_lbl, LV_ALIGN_TOP_RIGHT, -8, 8);
	lv_label_set_text(score_lbl, "0");

	/* Title screen: bold orange title up top, a best-score line, and footer
	 * hints below the platform. Separate labels so each sits cleanly around the
	 * standing runner instead of one text block piled over the scenery. */
	title_lbl = lv_label_create(scr);
	lv_obj_set_style_text_font(title_lbl, &lv_font_montserrat_24, 0);
	lv_obj_set_style_text_color(title_lbl, COL_ELRON, 0);
	lv_obj_align(title_lbl, LV_ALIGN_TOP_MID, 0, 40);
	lv_label_set_text(title_lbl, "CATCH THE TRAIN");

	best_lbl = lv_label_create(scr);
	lv_obj_set_style_text_font(best_lbl, &lv_font_montserrat_20, 0);
	lv_obj_set_style_text_color(best_lbl, COL_TEXT, 0);
	lv_obj_align(best_lbl, LV_ALIGN_TOP_MID, 0, 80);
	lv_label_set_text(best_lbl, "best  0");

	hint_lbl = lv_label_create(scr);
	lv_obj_set_style_text_font(hint_lbl, &lv_font_montserrat_16, 0);
	lv_obj_set_style_text_color(hint_lbl, COL_OBST, 0);
	lv_obj_align(hint_lbl, LV_ALIGN_BOTTOM_MID, 0, -12);
	lv_label_set_text(hint_lbl, "GO  run        BACK  exit");

	/* Game-over card: a bordered, opaque panel centred over the frozen scene. */
	over_lbl = lv_label_create(scr);
	lv_obj_set_style_text_font(over_lbl, &lv_font_montserrat_20, 0);
	lv_obj_set_style_text_color(over_lbl, COL_TEXT, 0);
	lv_obj_set_style_bg_color(over_lbl, COL_BG, 0);
	lv_obj_set_style_bg_opa(over_lbl, LV_OPA_COVER, 0);
	lv_obj_set_style_pad_all(over_lbl, 16, 0);
	lv_obj_set_style_radius(over_lbl, 10, 0);
	lv_obj_set_style_border_color(over_lbl, COL_ELRON, 0);
	lv_obj_set_style_border_width(over_lbl, 2, 0);
	lv_obj_set_width(over_lbl, 204);
	lv_obj_set_style_text_align(over_lbl, LV_TEXT_ALIGN_CENTER, 0);
	lv_obj_align(over_lbl, LV_ALIGN_CENTER, 0, 0);
	lv_label_set_text(over_lbl, "");
	lv_obj_add_flag(over_lbl, LV_OBJ_FLAG_HIDDEN);

	LOG_INF("game ready (best %u)", hi);
}
```

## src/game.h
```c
/* "Catch the Train" — a one-button endless runner hidden behind the departures
 * screen. Enter from the schedule view with the #1+#2 chord; #1 = GO (start /
 * jump / replay), #2 = BACK (quit to schedule). See README "Buttons". */
#ifndef ELRON_GAME_H_
#define ELRON_GAME_H_

#include <stdbool.h>
#include <stdint.h>

/* Build the (hidden) game screen once and load the persisted high score.
 * Call after elron_ui_init(). */
void elron_game_init(void);

/* True while the game screen is the active LVGL screen. */
bool elron_game_active(void);

/* Switch from the schedule view into the game (title screen). */
void elron_game_enter(void);

/* Feed a button edge to the game. idx 0 = #1 (GO), idx 1 = #2 (BACK). */
void elron_game_button(uint8_t idx, bool pressed);

/* Advance one frame; call ~30x/s from the main loop while active. */
void elron_game_tick(void);

/* Leave the game and return to the schedule view (no-op if not active). Calls
 * LVGL, so main-loop thread only. */
void elron_game_quit(void);

#endif /* ELRON_GAME_H_ */
```

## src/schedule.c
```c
#include "schedule.h"

#include <string.h>
#include <zephyr/kernel.h>
#include <zephyr/settings/settings.h>
#include <zephyr/sys/byteorder.h>
#include <zephyr/logging/log.h>

LOG_MODULE_REGISTER(schedule, LOG_LEVEL_INF);

#define SETTINGS_KEY      "elron/sched"
#define SETTINGS_SUBTREE  "elron"

static struct elron_schedule sched;
static bool sched_valid;

/* ── Clock: anchor companion-supplied epoch to k_uptime, free-run between ── */
static uint32_t clock_epoch_base;
static int64_t  clock_uptime_base;
static bool     clock_set;

void elron_clock_set(uint32_t epoch_now, int16_t tz_offset_min)
{
	clock_epoch_base = epoch_now;
	clock_uptime_base = k_uptime_get();
	sched.tz_off_min = tz_offset_min;
	clock_set = true;
}

uint32_t elron_clock_now_utc(void)
{
	if (!clock_set) {
		return 0;
	}
	int64_t elapsed_s = (k_uptime_get() - clock_uptime_base) / 1000;
	return clock_epoch_base + (uint32_t)elapsed_s;
}

bool elron_clock_is_set(void)
{
	return clock_set;
}

int elron_clock_local_min(void)
{
	if (!clock_set) {
		return -1;
	}
	int64_t local = (int64_t)elron_clock_now_utc() + sched.tz_off_min * 60;
	int64_t mod = local % 86400;
	if (mod < 0) {
		mod += 86400;
	}
	return (int)(mod / 60);
}

/* ── Persistence ──────────────────────────────────────────────────────── */
static int settings_set_cb(const char *name, size_t len,
			   settings_read_cb read_cb, void *cb_arg)
{
	if (settings_name_steq(name, "sched", NULL)) {
		if (len != sizeof(sched)) {
			LOG_WRN("stored schedule size %u != %u, ignoring",
				(unsigned)len, (unsigned)sizeof(sched));
			return 0;
		}
		ssize_t rc = read_cb(cb_arg, &sched, sizeof(sched));
		if (rc == sizeof(sched)) {
			sched_valid = true;
			LOG_INF("loaded %u persisted departures (%s -> %s)",
				sched.count, sched.origin, sched.dest);
		}
		return 0;
	}
	return -ENOENT;
}

static struct settings_handler sh = {
	.name = SETTINGS_SUBTREE,
	.h_set = settings_set_cb,
};

int elron_schedule_init(void)
{
	int rc = settings_subsys_init();
	if (rc) {
		LOG_ERR("settings_subsys_init: %d", rc);
		return rc;
	}
	rc = settings_register(&sh);
	if (rc) {
		LOG_ERR("settings_register: %d", rc);
		return rc;
	}
	rc = settings_load_subtree(SETTINGS_SUBTREE);
	if (rc) {
		LOG_WRN("settings_load: %d", rc);
	}
	return 0;
}

static int schedule_save(void)
{
	int rc = settings_save_one(SETTINGS_KEY, &sched, sizeof(sched));
	if (rc) {
		LOG_ERR("settings_save_one: %d", rc);
	}
	return rc;
}

/* ── Wire decode (v3) ─────────────────────────────────────────────────── */
static int rd_str(const uint8_t *buf, size_t len, size_t *p, char *dst, size_t cap)
{
	if (cap == 0) return -EINVAL;   /* else 'cap - 1' (size_t) underflows to SIZE_MAX */
	if (*p >= len) return -EINVAL;
	uint8_t n = buf[(*p)++];
	if (*p + n > len) return -EINVAL;
	size_t copy = n < cap - 1 ? n : cap - 1;
	memcpy(dst, &buf[*p], copy);
	dst[copy] = '\0';
	*p += n;
	return 0;
}

int elron_schedule_apply_wire(const uint8_t *buf, size_t len)
{
	size_t p = 0;
	/* static: the struct is ~1 KB — too big for the workqueue stack, and this
	 * runs serially from one context so there's no reentrancy concern. */
	static struct elron_schedule s;

	memset(&s, 0, sizeof(s));

	if (len < 9 || buf[p++] != ELRON_WIRE_VERSION) {
		LOG_WRN("bad wire header");
		return -EINVAL;
	}

	uint32_t epoch = sys_get_le32(&buf[p]); p += 4;
	int16_t  tz    = (int16_t)sys_get_le16(&buf[p]); p += 2;
	s.walk_min     = sys_get_le16(&buf[p]); p += 2;
	s.tz_off_min   = tz;

	if (rd_str(buf, len, &p, s.origin, sizeof(s.origin))) return -EINVAL;
	if (rd_str(buf, len, &p, s.dest, sizeof(s.dest))) return -EINVAL;
	if (rd_str(buf, len, &p, s.msg, sizeof(s.msg))) return -EINVAL;

	if (p >= len) return -EINVAL;
	uint8_t nd = buf[p++];
	s.ndest = nd < ELRON_MAX_DESTS ? nd : ELRON_MAX_DESTS;
	for (uint8_t i = 0; i < nd; i++) {
		char tmp[ELRON_DESTNAME_LEN];
		if (rd_str(buf, len, &p, tmp, sizeof(tmp))) return -EINVAL;
		if (i < ELRON_MAX_DESTS) {
			memcpy(s.dests[i], tmp, sizeof(tmp));
		}
	}

	if (p >= len) return -EINVAL;
	uint16_t count = buf[p++];
	if (count > ELRON_MAX_DEPARTURES) {
		count = ELRON_MAX_DEPARTURES;
	}
	for (uint16_t i = 0; i < count; i++) {
		if (p + 7 > len) return -EINVAL;
		s.dep[i].dep_epoch = sys_get_le32(&buf[p]); p += 4;
		s.dep[i].dur_min   = buf[p++];
		s.dep[i].dest_idx  = buf[p++];
		s.dep[i].flags     = buf[p++];
	}
	s.count = count;
	s.synced_epoch = epoch;

	/* Persist only when the timetable content actually changed. Every push carries
	 * a fresh synced_epoch, so comparing with that one field neutralised avoids
	 * rewriting ~1.2 KB to NVS (and the periodic GC sector-erase that costs) on
	 * identical re-pushes. The RAM clock is always re-anchored regardless. */
	uint32_t new_synced = s.synced_epoch;
	s.synced_epoch = sched.synced_epoch;
	bool changed = !sched_valid || memcmp(&s, &sched, sizeof(s)) != 0;
	s.synced_epoch = new_synced;

	memcpy(&sched, &s, sizeof(sched));
	sched_valid = true;
	elron_clock_set(epoch, tz);
	LOG_INF("applied %u departures (%u dests, walk %um)%s",
		count, s.ndest, s.walk_min, changed ? "" : " [unchanged]");

	return changed ? schedule_save() : 0;
}

const struct elron_schedule *elron_schedule_get(void)
{
	return &sched;
}

bool elron_schedule_valid(void)
{
	return sched_valid;
}

const char *elron_dep_dest(const struct elron_departure *d)
{
	if (d->dest_idx < sched.ndest) {
		return sched.dests[d->dest_idx];
	}
	return "";
}
```

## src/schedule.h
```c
/*
 * Schedule model + persistence (v3).
 *
 * Holds up to a week of Elron departures as ABSOLUTE unix timestamps, so the
 * device shows the right "next train" across days with no re-sync. Each carries
 * its travel time, final destination, and an express flag. Persisted to flash
 * (settings/NVS) so it survives power-cycles offline.
 *
 * The companion also sends a walk time (minutes to reach the station); the
 * device shows when to *start walking* to catch the soonest reachable train.
 */
#ifndef ELRON_SCHEDULE_H_
#define ELRON_SCHEDULE_H_

#include <stdint.h>
#include <stdbool.h>
#include <stddef.h>

#define ELRON_MAX_DEPARTURES 120
#define ELRON_NAME_LEN       16
#define ELRON_MAX_DESTS      12
#define ELRON_DESTNAME_LEN   12
#define ELRON_MSG_LEN        40

#define ELRON_FLAG_EXPRESS   0x01

struct elron_departure {
	uint32_t dep_epoch;   /* UTC unix seconds of departure */
	uint8_t  dur_min;     /* travel time to destination, minutes */
	uint8_t  dest_idx;    /* index into elron_schedule.dests */
	uint8_t  flags;       /* ELRON_FLAG_* */
};

struct elron_schedule {
	char     origin[ELRON_NAME_LEN];
	char     dest[ELRON_NAME_LEN];
	uint32_t synced_epoch;
	int16_t  tz_off_min;          /* local offset from UTC, for HH:MM display */
	uint16_t walk_min;            /* minutes to walk to the station */
	char     msg[ELRON_MSG_LEN];  /* disruption banner, "" if none */
	uint8_t  ndest;
	char     dests[ELRON_MAX_DESTS][ELRON_DESTNAME_LEN];
	uint16_t count;
	struct elron_departure dep[ELRON_MAX_DEPARTURES];
};

/* Wire format v3 (little-endian, packed), written by the companion over BLE:
 *
 *   u8   version (=3)
 *   u32  epoch_now        (sets the device clock)
 *   i16  tz_offset_min
 *   u16  walk_min
 *   u8   origin_len, origin bytes
 *   u8   dest_len,   dest bytes
 *   u8   msg_len,    msg bytes
 *   u8   ndest, ndest * { u8 len, bytes }   (final-destination table)
 *   u8   count
 *   count * { u32 dep_epoch, u8 dur_min, u8 dest_idx, u8 flags }
 */
#define ELRON_WIRE_VERSION 3

int elron_schedule_init(void);
int elron_schedule_apply_wire(const uint8_t *buf, size_t len);
const struct elron_schedule *elron_schedule_get(void);
bool elron_schedule_valid(void);
const char *elron_dep_dest(const struct elron_departure *d);

/* ── Clock (companion epoch anchored to k_uptime, free-runs between syncs) ── */
void     elron_clock_set(uint32_t epoch_now, int16_t tz_offset_min);
uint32_t elron_clock_now_utc(void);   /* 0 if never set */
bool     elron_clock_is_set(void);
int      elron_clock_local_min(void); /* local minute-of-day 0..1439, -1 if unset */

#endif /* ELRON_SCHEDULE_H_ */
```
